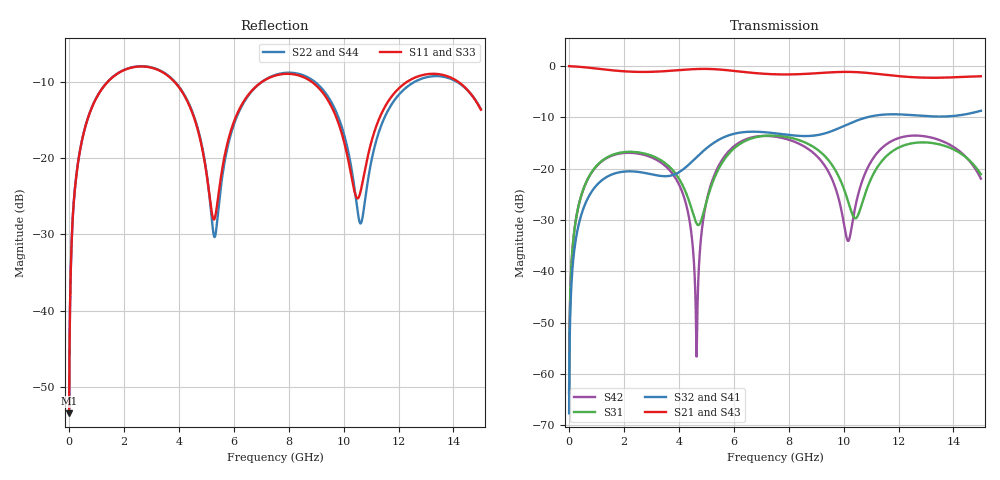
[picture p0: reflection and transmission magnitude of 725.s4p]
! Created with skrf 1.8.0 (http://scikit-rf.org).
# GHz S RI R 50.0
!freq ReS11 ImS11 ReS12 ImS12 ReS13 ImS13
! ReS14 ImS14
! ReS21 ImS21 ReS22 ImS22 ReS23 ImS23
! ReS24 ImS24
! ReS31 ImS31 ReS32 ImS32 ReS33 ImS33
! ReS34 ImS34
! ReS41 ImS41 ReS42 ImS42 ReS43 ImS43
! ReS44 ImS44
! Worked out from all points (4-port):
!   2499 points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, 5 MHz to 15 GHz, reference 50 ohm
!   strongest paths, dB at 5 MHz, 3.476 GHz, 7.19 GHz, 11.1 GHz, 15 GHz:
!     S21: 0.0, -1.0, -1.5, -1.5, -2.0
!     S43: 0.0, -1.0, -1.5, -1.5, -2.0
!     S32: -67.7, -21.5, -12.9, -9.7, -8.7
!     S41: -67.7, -21.5, -12.9, -9.7, -8.7
!     S31: -63.9, -18.8, -13.6, -20.9, -21.1
!     S42: -63.9, -19.3, -13.6, -17.8, -21.9
!   lowest |S11| = -53.4 dB at 5 MHz (marker M1), VSWR 1.00, Z = 50.2 + j0.13 ohm
!   |S11| at or under -10 dB: start of sweep to 1.418 GHz; 3.833 GHz to 7.042 GHz (3.209 GHz wide, 59 % of centre); 8.828 GHz to 12.32 GHz (3.496 GHz wide, 33.1 % of centre) (the widest 3 of 4)
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0.005  0.0017 0.0013  0.9983 -0.00331  8.42e-05 0.000635  -8.2e-05 -0.000404
       0.9983 -0.00331  0.0017 0.0013  -8.2e-05 -0.000404  8.41e-05 0.000635
       8.42e-05 0.000635  -8.2e-05 -0.000404  0.0017 0.0013  0.9983 -0.00331
       -8.2e-05 -0.000404  8.41e-05 0.000635  0.9983 -0.00331  0.0017 0.0013
1.519383  0.276 0.1799  0.5386 -0.7368  0.1238 0.0517  -0.0867 -0.00497
          0.5386 -0.7368  0.2777 0.1787  -0.0867 -0.00494  0.1189 0.0586
          0.1238 0.0517  -0.0867 -0.00494  0.2759 0.1799  0.5386 -0.7368
          -0.0867 -0.00497  0.1189 0.0586  0.5386 -0.7368  0.2777 0.1786
4.646818  0.0907 -0.1353  -0.838 -0.4172  -0.0252 -0.0149  -0.0539 0.1176
          -0.838 -0.4172  0.0841 -0.1434  -0.0535 0.1178  0.00141 0.00044
          -0.0252 -0.0149  -0.0535 0.1178  0.0904 -0.1345  -0.8383 -0.417
          -0.0539 0.1176  0.00141 0.00044  -0.8383 -0.417  0.0835 -0.1428
5.502293  0.0505 0.0466  -0.9221 0.0756  0.0163 0.1045  0.0264 0.1926
          -0.9221 0.0756  0.0402 0.0424  0.027 0.1925  0.0392 0.1059
          0.0163 0.1045  0.027 0.1925  0.0508 0.0477  -0.922 0.076
          0.0264 0.1926  0.0392 0.1059  -0.922 0.076  0.0402 0.0437
8.18466  0.3506 -0.0407  0.000824 0.8309  0.1705 -0.0983  0.1967 -0.0753
         0.000824 0.8309  0.3573 -0.0456  0.1965 -0.0764  0.1724 -0.0651
         0.1705 -0.0983  0.1965 -0.0764  0.3515 -0.041  0.000501 0.8304
         0.1967 -0.0753  0.1724 -0.0651  0.000501 0.8304  0.3588 -0.0448
10.91705  0.0767 0.0779  0.8543 -0.0493  0.0158 0.0691  -0.0344 -0.3179
          0.8543 -0.0493  0.052 0.0571  -0.0362 -0.3179  0.0768 0.0745
          0.0158 0.0691  -0.0362 -0.3179  0.0753 0.0801  0.8541 -0.0493
          -0.0344 -0.3179  0.0768 0.0745  0.8541 -0.0493  0.0544 0.0593
15  0.1625 -0.1284  -0.5566 -0.5689  -0.0369 -0.0802  -0.2521 0.2661
    -0.5566 -0.5689  0.1638 -0.1299  -0.2497 0.2686  -0.0286 -0.0747
    -0.0369 -0.0802  -0.2497 0.2686  0.1697 -0.134  -0.5514 -0.571
    -0.2521 0.2661  -0.0286 -0.0747  -0.5514 -0.571  0.1721 -0.1354
